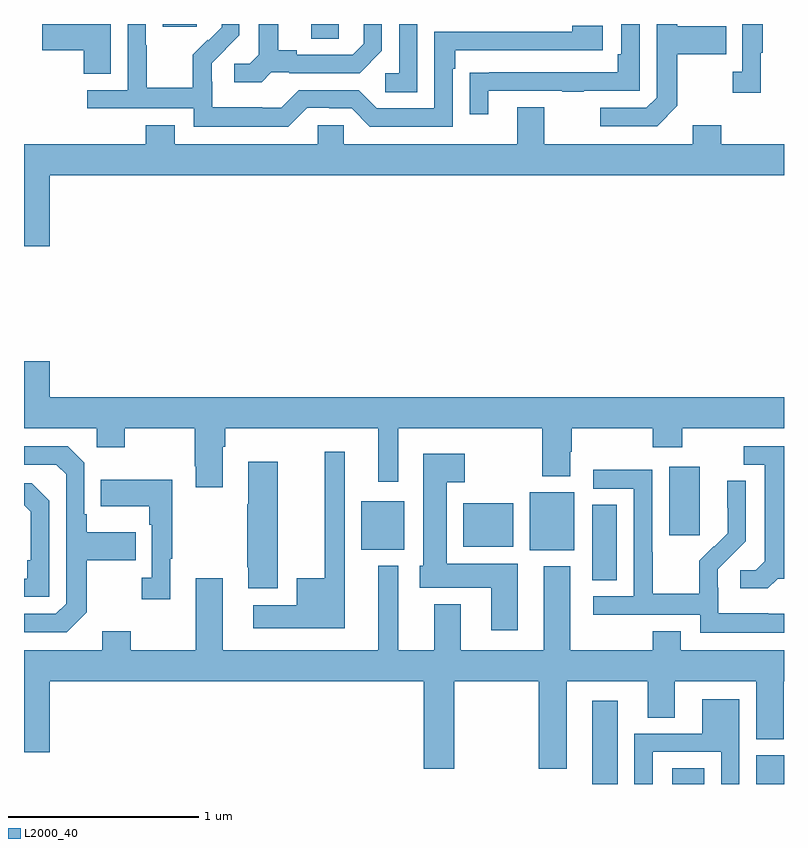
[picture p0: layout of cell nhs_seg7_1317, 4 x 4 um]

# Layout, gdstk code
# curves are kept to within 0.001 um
import gdstk
lib = gdstk.Library(unit=1e-6, precision=1e-09)
def R(c, l, rs):  # rectangles x0, y0, x1, y1
    for r in rs: c.add(gdstk.rectangle(r[:2], r[2:], *l))
def P(c, l, *ps):  # polygons
    for p in ps: c.add(gdstk.Polygon(p, *l))
L2000_40 = (2000, 40)

nhs_seg7_1317 = lib.new_cell('nhs_seg7_1317')
R(nhs_seg7_1317, L2000_40, [(203.99,1076,204.124,1076.437), (204.413,1076,204.58,1076.084), (204.854,1076,205,1076.151), (203.99,1077.073,204.121,1077.47), (203.663,1077.23,203.896,1077.535), (202.775,1077.233,203.002,1077.487), (203.312,1077.248,203.575,1077.478), (204.395,1077.309,204.556,1077.67), (202.511,1079.923,202.656,1080), (201.731,1079.985,201.91,1080)])
P(nhs_seg7_1317, L2000_40, [(203.07,1080),(202.974,1080),(202.974,1079.742),(202.902,1079.742),(202.902,1079.641),(203.07,1079.641)],
  [(201.457,1080),(201.096,1080),(201.096,1079.861),(201.314,1079.861),(201.314,1079.737),(201.457,1079.737)],
  [(202.491,1079.559),(202.607,1079.559),(202.607,1079.556),(202.725,1079.556),(202.821,1079.46),(203.256,1079.46),(203.256,1079.765),(203.269,1079.765),(203.269,1079.862),(204.046,1079.862),(204.046,1079.992),(203.885,1079.992),(203.885,1079.958),(203.16,1079.958),(203.16,1079.556),(202.857,1079.556),(202.761,1079.652),(202.446,1079.652),(202.353,1079.559),(202.253,1079.559),(202.253,1079.563),(201.99,1079.563),(201.99,1079.697),(201.988,1079.697),(201.988,1079.794),(202.134,1079.942),(202.134,1080),(202.04,1080),(202.04,1079.984),(201.969,1079.913),(201.966,1079.916),(201.889,1079.839),(201.889,1079.665),(201.645,1079.665),(201.645,1079.888),(201.642,1079.888),(201.642,1080),(201.546,1080),(201.546,1079.652),(201.333,1079.652),(201.333,1079.556),(201.894,1079.556),(201.894,1079.459),(202.391,1079.459)],
  [(204.439,1079.569),(204.439,1079.842),(204.695,1079.842),(204.695,1079.989),(204.439,1079.989),(204.439,1080),(204.33,1080),(204.33,1079.613),(204.276,1079.559),(204.033,1079.559),(204.033,1079.463),(204.333,1079.463)],
  [(204.877,1079.849),(204.889,1079.849),(204.889,1080),(204.78,1080),(204.78,1079.75),(204.729,1079.75),(204.729,1079.637),(204.877,1079.637)],
  [(202.302,1079.745),(202.396,1079.745),(202.396,1079.742),(202.768,1079.742),(202.884,1079.858),(202.884,1080),(202.787,1080),(202.787,1079.895),(202.73,1079.838),(202.435,1079.838),(202.435,1079.861),(202.339,1079.861),(202.339,1080),(202.235,1080),(202.235,1079.837),(202.188,1079.79),(202.107,1079.79),(202.107,1079.693),(202.25,1079.693)],
  [(203.443,1079.649),(203.833,1079.649),(203.833,1079.644),(203.945,1079.644),(203.945,1079.649),(204.24,1079.649),(204.24,1080),(204.144,1080),(204.144,1079.842),(204.124,1079.842),(204.124,1079.745),(203.449,1079.745),(203.449,1079.744),(203.347,1079.744),(203.347,1079.526),(203.443,1079.526)],
  [(201.136,1079.204),(205,1079.204),(205,1079.368),(204.669,1079.368),(204.669,1079.467),(204.521,1079.467),(204.521,1079.368),(203.737,1079.368),(203.737,1079.563),(203.597,1079.563),(203.597,1079.368),(202.683,1079.368),(202.683,1079.466),(202.545,1079.466),(202.545,1079.368),(201.793,1079.368),(201.793,1079.467),(201.641,1079.467),(201.641,1079.368),(201,1079.368),(201,1078.83),(201.136,1078.83)],
  [(202.045,1077.776),(202.058,1077.776),(202.058,1077.872),(202.865,1077.872),(202.865,1077.591),(202.969,1077.591),(202.969,1077.872),(203.728,1077.872),(203.728,1077.62),(203.875,1077.62),(203.875,1077.748),(203.883,1077.748),(203.883,1077.872),(204.31,1077.872),(204.31,1077.773),(204.465,1077.773),(204.465,1077.872),(205,1077.872),(205,1078.036),(201.136,1078.036),(201.136,1078.225),(201,1078.225),(201,1077.872),(201.384,1077.872),(201.384,1077.773),(201.531,1077.773),(201.531,1077.872),(201.898,1077.872),(201.898,1077.673),(201.905,1077.673),(201.905,1077.561),(202.045,1077.561)],
  [(201.331,1076.905),(201.331,1077.178),(201.587,1077.178),(201.587,1077.325),(201.331,1077.325),(201.331,1077.421),(201.318,1077.421),(201.318,1077.69),(201.231,1077.777),(201,1077.777),(201,1077.681),(201.171,1077.681),(201.222,1077.63),(201.222,1076.949),(201.168,1076.895),(201,1076.895),(201,1076.799),(201.225,1076.799)],
  [(204.966,1077.081),(205,1077.081),(205,1077.777),(204.789,1077.777),(204.789,1077.681),(204.899,1077.681),(204.899,1077.173),(204.852,1077.126),(204.771,1077.126),(204.771,1077.029),(204.914,1077.029)],
  [(202.687,1077.748),(202.583,1077.748),(202.583,1077.082),(202.436,1077.082),(202.436,1076.941),(202.206,1076.941),(202.206,1076.819),(202.687,1076.819)],
  [(203.599,1077.16),(203.224,1077.16),(203.224,1077.587),(203.32,1077.587),(203.32,1077.739),(203.102,1077.739),(203.102,1077.15),(203.084,1077.15),(203.084,1077.032),(203.459,1077.032),(203.459,1076.808),(203.599,1076.808)],
  [(202.336,1077.697),(202.181,1077.697),(202.181,1077.473),(202.174,1077.473),(202.174,1077.142),(202.181,1077.142),(202.181,1077.03),(202.336,1077.03)],
  [(205,1076.895),(204.917,1076.895),(204.917,1076.899),(204.654,1076.899),(204.654,1077.033),(204.652,1077.033),(204.652,1077.13),(204.798,1077.278),(204.798,1077.596),(204.701,1077.596),(204.701,1077.455),(204.704,1077.455),(204.704,1077.32),(204.633,1077.249),(204.63,1077.252),(204.553,1077.175),(204.553,1077.001),(204.309,1077.001),(204.309,1077.221),(204.306,1077.221),(204.306,1077.654),(203.997,1077.654),(203.997,1077.555),(204.21,1077.555),(204.21,1076.988),(203.997,1076.988),(203.997,1076.892),(204.558,1076.892),(204.558,1076.795),(205,1076.795)],
  [(201.769,1077.185),(201.781,1077.185),(201.781,1077.601),(201.403,1077.601),(201.403,1077.461),(201.66,1077.461),(201.66,1077.365),(201.672,1077.365),(201.672,1077.086),(201.621,1077.086),(201.621,1076.973),(201.769,1076.973)],
  [(201.132,1077.492),(201.042,1077.582),(201,1077.582),(201,1077.468),(201.036,1077.432),(201.036,1077.178),(201.016,1077.178),(201.016,1077.081),(201,1077.081),(201,1076.985),(201.132,1076.985)],
  [(203.265,1076.54),(203.71,1076.54),(203.71,1076.079),(203.857,1076.079),(203.857,1076.54),(204.284,1076.54),(204.284,1076.35),(204.424,1076.35),(204.424,1076.54),(204.854,1076.54),(204.854,1076.236),(204.998,1076.236),(204.998,1076.54),(205,1076.54),(205,1076.704),(204.457,1076.704),(204.457,1076.803),(204.31,1076.803),(204.31,1076.704),(203.875,1076.704),(203.875,1077.145),(203.735,1077.145),(203.735,1076.704),(203.299,1076.704),(203.299,1076.947),(203.159,1076.947),(203.159,1076.704),(202.969,1076.704),(202.969,1077.148),(202.865,1077.148),(202.865,1076.704),(202.045,1076.704),(202.045,1077.082),(201.905,1077.082),(201.905,1076.704),(201.561,1076.704),(201.561,1076.803),(201.413,1076.803),(201.413,1076.704),(201,1076.704),(201,1076.166),(201.136,1076.166),(201.136,1076.54),(203.105,1076.54),(203.105,1076.079),(203.265,1076.079)],
  [(204.309,1076.169),(204.669,1076.169),(204.669,1076),(204.765,1076),(204.765,1076.446),(204.569,1076.446),(204.569,1076.265),(204.213,1076.265),(204.213,1076),(204.309,1076)])

lib.write_gds('nhs_seg7_1317.gds')
